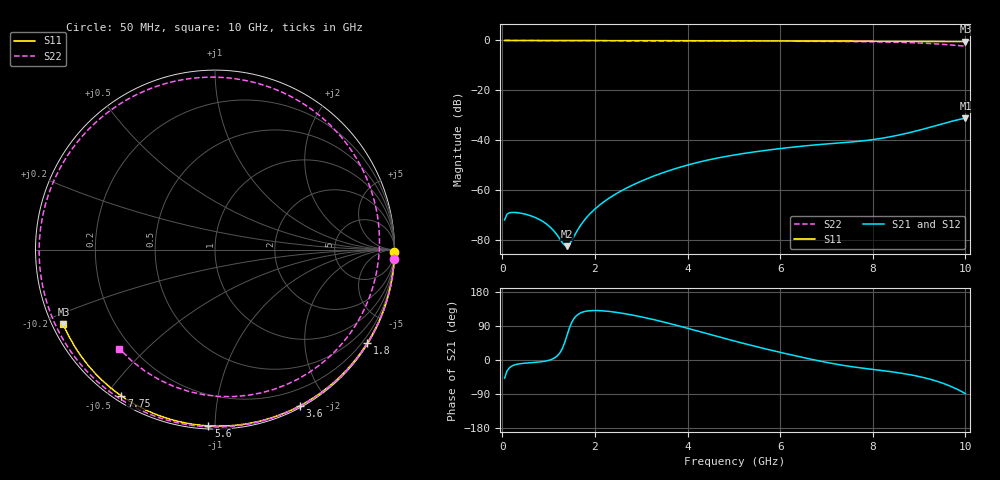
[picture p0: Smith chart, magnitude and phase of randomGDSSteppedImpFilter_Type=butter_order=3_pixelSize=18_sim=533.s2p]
! freq	dB(S11)	phase(S11)	dB(S12)	phase(S12)
!  dB(S21)	phase(S21)	dB(S22)	phase(S22)
!S-par simulation data
#  GHz  S  DB  R 50
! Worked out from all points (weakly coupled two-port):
!   200 points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, 50 MHz to 10 GHz, reference 50 ohm
!   highest |S21| = -31.13 dB at 10 GHz (marker M1); lowest = -82.3 dB at 1.4 GHz (marker M2)
!   lowest |S11| = -0.5 dB at 10 GHz (marker M3), VSWR 33.44, Z = 1.58 - j11.7 ohm
!   |S11| at or under -10 dB: nowhere
!   |S22| runs from -2.3 to 0.0 dB; largest |S21 - S12| = 0
!   S11 on the Smith chart (normalised r, x): 50 MHz: open; 1.8 GHz: 0.03, -3.54; 3.6 GHz: 0.02, -1.68; 5.6 GHz: 0.02, -0.96; 7.75 GHz: 0.02, -0.55; 10 GHz: 0.03, -0.23
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0.05  -0.00 -0.9  -71.78 -48.0  -71.78 -48.0  -0.00 -2.9
0.2  -0.00 -3.6  -68.80 -16.4  -68.80 -16.4  -0.00 -11.6
0.6  -0.01 -10.7  -70.04 -7.3  -70.04 -7.3  -0.03 -34.5
1.25  -0.03 -22.0  -79.59 20.1  -79.59 20.1  -0.08 -69.0
1.4  -0.03 -24.6  -82.29 66.0  -82.29 66.0  -0.09 -76.4
1.5  -0.03 -26.4  -80.03 99.5  -80.03 99.5  -0.09 -81.2
1.75  -0.04 -30.7  -72.43 127.0  -72.43 127.0  -0.10 -92.8
1.8  -0.04 -31.5  -71.27 128.6  -71.27 128.6  -0.11 -95.1
2.4  -0.05 -41.7  -61.97 126.8  -61.97 126.8  -0.12 -120.4
3.4  -0.08 -58.2  -53.35 102.8  -53.35 102.8  -0.15 -157.0
3.6  -0.08 -61.4  -52.08 96.7  -52.08 96.7  -0.16 -163.8
4.3  -0.10 -72.5  -48.43 73.7  -48.43 73.7  -0.19 173.2
5.05  -0.13 -83.9  -45.68 48.9  -45.68 48.9  -0.22 149.0
5.6  -0.15 -92.1  -44.18 31.8  -44.18 31.8  -0.26 130.8
6.7  -0.21 -108.0  -41.88 1.2  -41.88 1.2  -0.35 91.2
7.25  -0.25 -115.7  -41.04 -11.9  -41.04 -11.9  -0.41 68.7
7.75  -0.29 -122.6  -40.23 -21.0  -40.23 -21.0  -0.50 45.9
8.35  -0.34 -130.9  -38.62 -30.2  -38.62 -30.2  -0.66 14.4
8.95  -0.40 -139.2  -36.15 -42.3  -36.15 -42.3  -0.98 -24.4
9.45  -0.45 -146.1  -33.62 -58.7  -33.62 -58.7  -1.46 -66.9
9.75  -0.49 -150.2  -32.11 -73.1  -32.11 -73.1  -1.89 -100.2
10  -0.52 -153.7  -31.13 -88.6  -31.13 -88.6  -2.30 -134.1
